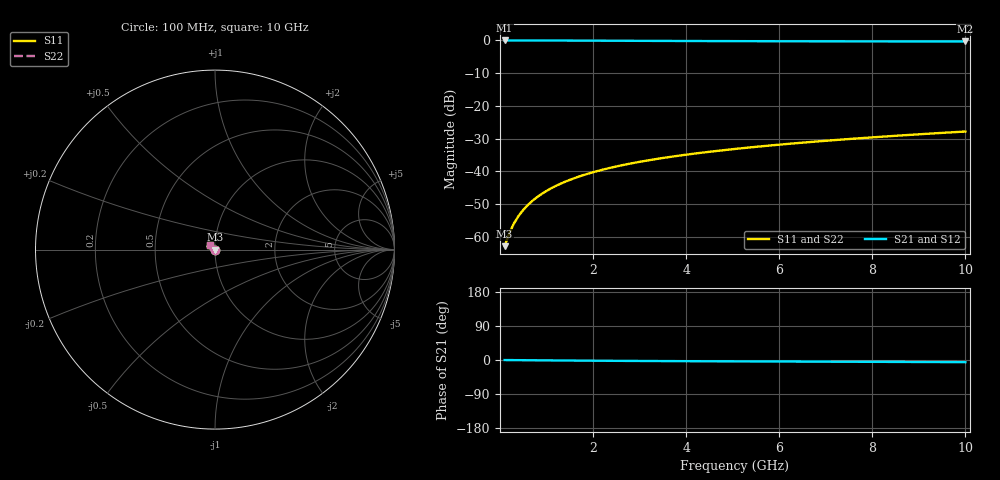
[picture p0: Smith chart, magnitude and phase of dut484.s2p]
! Touchstone file exported from HFSS 2024.1.0
!  File:  C:/UserFiles/LocalFiles/RDL_TSV_Batchsim/temp_TSV1_484_1779699797.aedt
!  Generated:  05:09:26 PM May 25, 2026
!  Design:  TSV1
!  Project:  temp_TSV1_484_1779699797
!  Setup:  Setup1
!  Solution:  Sweep
! Variables:
!  dtsv = 5.21um
!  hbump = 3um
!  htsv = 82.71um
!  lrdl = 252.1521522um
!  p = 40
!  p1 = 50.29um
!  t = 500um
!  trdl = 3um
!  wrdl = 24.89489489um
# GHz S MA R 50.000000
! Terminal data exported
! Port[1] = TSV22_T1
! Port[2] = TSV22_T2
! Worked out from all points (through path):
!   100 points, 100 MHz to 10 GHz, reference 50 ohm
!   highest |S21| = 0.00 dB at 100 MHz (marker M1); lowest = -0.3 dB at 10 GHz (marker M2)
!   lowest |S11| = -62.9 dB at 100 MHz (marker M3), VSWR 1.00, Z = 50.1 - j0.0517 ohm
!   |S11| at or under -10 dB: start of sweep to end of sweep
!   |S22| runs from -62.9 to -27.8 dB; largest |S21 - S12| = 1.3e-14
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0.1  0.0007193 -45.9  0.9995 -0.1  0.9995 -0.1  0.0007193 -45.9
! Gamma 0 0 0 0
! Port Impedance 50 0 50 0
0.2  0.001134 -67.1  0.9994 -0.2  0.9994 -0.2  0.001134 -67.1
0.3  0.0016 -78.0  0.9992 -0.3  0.9992 -0.3  0.0016 -78.0
0.4  0.002084 -85.1  0.9991 -0.4  0.9991 -0.4  0.002084 -85.1
0.5  0.002573 -90.4  0.9989 -0.5  0.9989 -0.5  0.002573 -90.4
0.6  0.003065 -94.8  0.9986 -0.6  0.9986 -0.6  0.003065 -94.8
0.7  0.003557 -98.6  0.9984 -0.7  0.9984 -0.7  0.003557 -98.6
0.8  0.004047 -102.1  0.998 -0.8  0.998 -0.8  0.004048 -102.1
0.9  0.004536 -105.3  0.9977 -0.9  0.9977 -0.9  0.004536 -105.3
1  0.005022 -108.4  0.9973 -1.0  0.9973 -1.0  0.005022 -108.4
1.2  0.005986 -114.0  0.9964 -1.2  0.9964 -1.2  0.005986 -114.0
1.5  0.007405 -121.9  0.9949 -1.5  0.9949 -1.5  0.007405 -121.9
1.8  0.008788 -129.1  0.9933 -1.7  0.9933 -1.7  0.008788 -129.1
2.1  0.01013 -135.9  0.9915 -1.9  0.9915 -1.9  0.01013 -135.9
2.5  0.01188 -144.2  0.9891 -2.2  0.9891 -2.2  0.01188 -144.2
2.9  0.01356 -151.9  0.9866 -2.5  0.9866 -2.5  0.01356 -151.9
3.4  0.0156 -160.7  0.9837 -2.8  0.9837 -2.8  0.0156 -160.7
4.2  0.01874 -172.9  0.9795 -3.2  0.9795 -3.2  0.01874 -172.9
5.1  0.02218 175.6  0.9755 -3.6  0.9755 -3.6  0.02218 175.6
6.7  0.02818 159.6  0.9701 -4.3  0.9701 -4.3  0.02818 159.6
8.4  0.03455 147.1  0.9662 -5.0  0.9662 -5.0  0.03455 147.1
10  0.04058 138.2  0.9635 -5.7  0.9635 -5.7  0.04058 138.2
